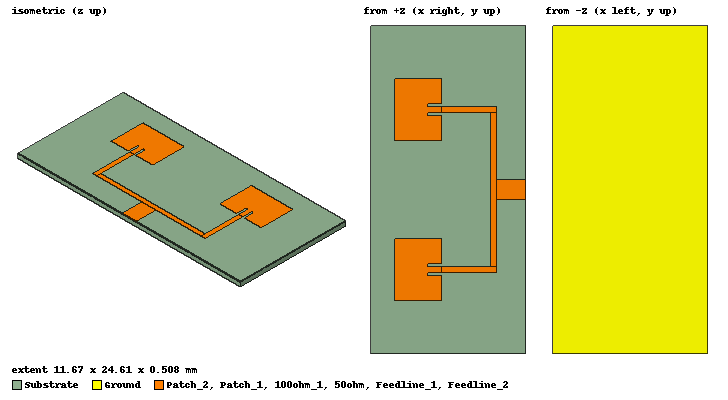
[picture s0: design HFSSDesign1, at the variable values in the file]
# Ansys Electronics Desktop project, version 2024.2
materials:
  vacuum: permittivity=1
  Rogers RT/duroid 5880 (tm): permittivity=2.2 dielectric_loss_tangent=0.0009

design HFSSDesign1 (HFSS, HFSS Terminal Network, model units mm)
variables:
  Lg = 11.67mm
  Wg = 24.61mm
  Hs = 0.508mm
  Ls = 11.67mm
  Ws = 24.61mm
  Wf = 1.565mm
  Lf = 2.2mm
  Lp = 3.51mm
  Wp = 4.591mm
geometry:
  Ground = rectangle(corner=(-Lg/2, -Wg/2, 0mm), x_size=Lg, y_size=Wg)
  Substrate [Rogers RT/duroid 5880 (tm)] = box(corner=(-Lg/2, -Wg/2, 0), size=(Ls, Ws, Hs))
  50ohm = rectangle(corner=(Ls/2 - Lf, -Wf/2, Hs), x_size=Lf, y_size=Wf)
  100ohm_1 = rectangle(corner=(Ls/2 - Lf - 0.455mm, -11.545mm/2, Hs), x_size=0.455mm, y_size=11.545mm)
  Patch_1 = rectangle(corner=(-4mm, -11.545mm/2 - Wp/2 - 0.455mm/2, Hs), x_size=Lp, y_size=Wp)
  Feedline_1 = rectangle(corner=(3.635mm, -0.455mm-11.545mm/2, 0.508mm), x_size=-4.135mm, y_size=0.455mm)
  Feedline_2 = rectangle(corner=(3.635mm, 11.545mm/2, 0.508mm), x_size=-4.135mm, y_size=0.455mm)
  Cut_1 = rectangle(corner=(-1.52mm, -11.545mm/2, 0.508mm), x_size=1.2mm, y_size=0.2mm)
  Patch_1.subtract(Cut_1)
  Cut_2 = rectangle(corner=(-1.52mm, -11.545mm/2-0.455mm-0.2mm, 0.508mm), x_size=1.2mm, y_size=0.2mm)
  Patch_1.subtract(Cut_2)
  Patch_2 = rectangle(corner=(-4mm, 11.545mm/2 -Wp/2 +0.455mm/2, 0.508mm), x_size=Lp, y_size=Wp)
  Cut_3 = rectangle(corner=(-1.52mm, 11.545mm/2-0.2mm, 0.508mm), x_size=1.2mm, y_size=0.2mm)
  Patch_2.subtract(Cut_3)
  Cut_4 = rectangle(corner=(-1.52mm, 11.545mm/2+0.455mm, 0.508mm), x_size=1.2mm, y_size=0.2mm)
  Patch_2.subtract(Cut_4)
  Polyline1 = polyline(xyz in mm: (-4, -4.5, 0) (-3.1225, -3.7045, 0.508) (-4, -3.7045, 0.508) (-4, -4.5, 0.5))
